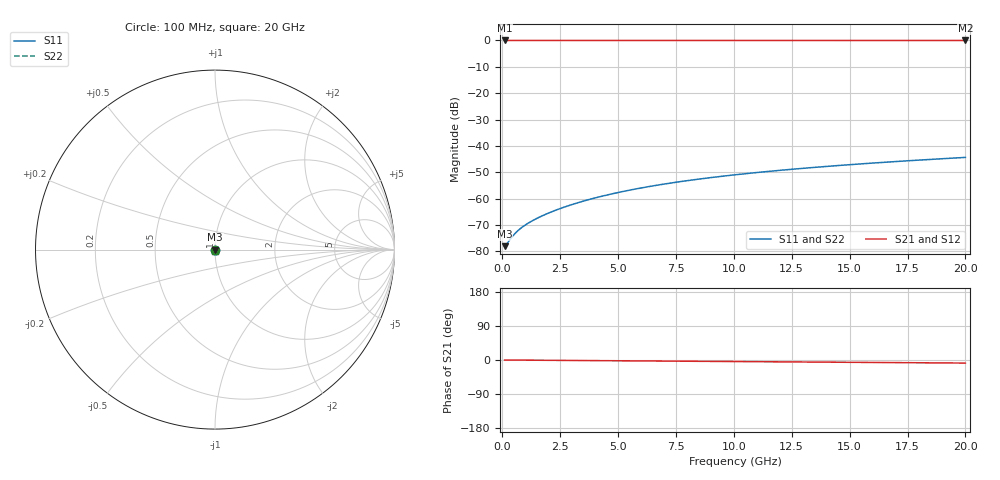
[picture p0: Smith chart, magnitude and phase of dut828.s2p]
! Touchstone file exported from HFSS 2026.1.0
!  File:  C:/ffzhzh/LocalFiles/Ansys_Project_Files/temp_train_TSV_828_1783184642_43440.aedt
!  Generated:  01:05:25 AM Jul  5, 2026
!  Design:  TSV
!  Project:  temp_train_TSV_828_1783184642_43440
! Variables:
!  h_bsmrdl = 2um
!  h_ox = 20um
!  h_rdl = 5um
!  h_sub = 82.38um
!  h_tmrdl = 5um
!  h_tsv = 82.38um
!  h_via = 3um
!  l_bsmrdl = 300um
!  l_sub = 420.8um
!  l_tmrdl = 200um
!  m_sub = 200um
!  pitch = 40.24um
!  r_tsv = 10.4um
!  s_tmrdl = 10um
!  w_bsmrdl = 18um
!  w_sub = 500um
!  w_tmrdl = 12um
!  x_tsv_center1 = 206um
!  x_tsv_center2 = 524um
!  x_tsv_center3 = 736um
!  x_tsv_center4 = 1054um
!  x_tsv_center5 = 1266um
!  x_tsv_center6 = 1584um
# GHz S MA R 50.000000
! Terminal data exported
! Port[1] = TSV1_1_T1
! Port[2] = TSV1_1_T2
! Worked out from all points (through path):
!   200 points, 100 MHz to 20 GHz, reference 50 ohm
!   highest |S21| = 0.00 dB at 100 MHz (marker M1); lowest = 0.0 dB at 20 GHz (marker M2)
!   group delay of S21, straight-line fit = 1.12 ps
!   lowest |S11| = -78.0 dB at 100 MHz (marker M3), VSWR 1.00, Z = 50 + j0.00154 ohm
!   |S11| at or under -10 dB: start of sweep to end of sweep
!   |S22| runs from -78.0 to -44.4 dB; largest |S21 - S12| = 3.2e-15
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0.1  0.0001255 7.1  0.9999 -0.0  0.9999 -0.0  0.0001255 7.1
! Gamma 0 0 0 0
! Port Impedance 50 0 50 0
0.2  0.0001401 11.5  0.9999 -0.1  0.9999 -0.1  0.0001401 11.5
0.4  0.000183 11.3  0.9998 -0.2  0.9998 -0.2  0.000183 11.3
0.6  0.0002298 4.9  0.9998 -0.3  0.9998 -0.3  0.0002298 4.9
0.7  0.0002526 0.9  0.9997 -0.3  0.9997 -0.3  0.0002527 0.9
0.9  0.0002967 -7.0  0.9997 -0.4  0.9997 -0.4  0.0002967 -7.0
1.2  0.0003604 -17.7  0.9997 -0.5  0.9997 -0.5  0.0003604 -17.7
1.4  0.0004026 -23.7  0.9996 -0.6  0.9996 -0.6  0.0004026 -23.7
1.7  0.000467 -31.1  0.9996 -0.7  0.9996 -0.7  0.0004671 -31.1
2.2  0.0005788 -40.3  0.9996 -0.9  0.9996 -0.9  0.0005789 -40.3
2.8  0.0007212 -47.9  0.9995 -1.1  0.9995 -1.1  0.0007213 -47.9
3.5  0.0008979 -54.0  0.9995 -1.4  0.9995 -1.4  0.0008979 -54.0
4.2  0.001084 -58.3  0.9994 -1.7  0.9994 -1.7  0.001084 -58.3
5  0.001307 -62.1  0.9993 -2.0  0.9993 -2.0  0.001307 -62.1
5.9  0.001567 -65.4  0.9993 -2.4  0.9993 -2.4  0.001567 -65.3
6.8  0.001834 -68.0  0.9992 -2.8  0.9992 -2.8  0.001834 -68.0
8.3  0.00229 -71.6  0.9991 -3.4  0.9991 -3.4  0.00229 -71.6
10.1  0.002849 -74.9  0.9991 -4.1  0.9991 -4.1  0.002849 -74.9
11.7  0.003352 -77.3  0.999 -4.7  0.999 -4.7  0.003353 -77.3
13.4  0.003893 -79.5  0.9989 -5.4  0.9989 -5.4  0.003893 -79.5
16.7  0.004959 -82.8  0.9988 -6.8  0.9988 -6.8  0.00496 -82.8
20  0.006053 -85.5  0.9987 -8.1  0.9987 -8.1  0.006054 -85.4
